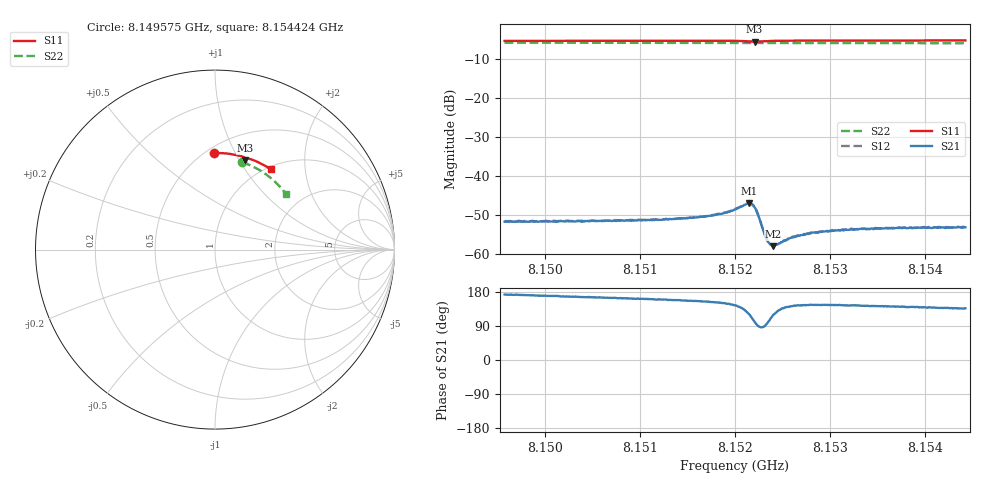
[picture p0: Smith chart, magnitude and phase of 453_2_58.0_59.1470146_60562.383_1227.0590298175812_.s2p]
#  HZ  S  RI  R  50.00
! Rohde & Schwarz Vector Network Analyzer
! Rohde-Schwarz,ZNB20-2Port,1311601062101988,3.16
! Created: UTC 3/21/2024, 1:10:38 AM
! freq[Hz]  re:S11  im:S11  re:S21  im:S21  re:S12  im:S12  re:S22  im:S22
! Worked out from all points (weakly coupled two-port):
!   401 points, 8.149575 GHz to 8.154424 GHz, reference 50 ohm
!   highest |S21| = -46.97 dB at 8.152145 GHz (marker M1); lowest = -57.9 dB at 8.152399 GHz (marker M2)
!   lowest |S11| = -5.6 dB at 8.152205 GHz (marker M3), VSWR 3.23, Z = 38.5 + j53.2 ohm
!   |S11| at or under -10 dB: nowhere
!   |S22| runs from -6.0 to -5.8 dB; largest |S21 - S12| = 0.00011
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8.1495747e9  -0.00537 0.5376  -0.0026 0.000333  -0.00265 0.00036  0.1515 0.4869
8.1503869e9  0.0514 0.5365  -0.00254 0.000614  -0.00262 0.000673  0.2001 0.4679
8.1511992e9  0.1078 0.5293  -0.0026 0.000931  -0.00262 0.00101  0.2463 0.4441
8.1516841e9  0.1419 0.5219  -0.00276 0.00132  -0.00271 0.00136  0.2725 0.4275
8.1518781e9  0.1559 0.5172  -0.00291 0.00167  -0.00291 0.00174  0.2827 0.4204
8.1519993e9  0.1652 0.513  -0.00305 0.0022  -0.00306 0.00228  0.2889 0.4158
8.1521084e9  0.1725 0.5056  -0.00281 0.0033  -0.00278 0.00336  0.2942 0.4115
8.1521448e9  0.173 0.502  -0.00236 0.00381  -0.00228 0.00386  0.2962 0.41
8.1521811e9  0.1717 0.499  -0.00144 0.00407  -0.00142 0.00413  0.2977 0.4086
8.1522054e9  0.1698 0.4985  -0.00075 0.00394  -0.000705 0.00398  0.2989 0.4078
8.1522418e9  0.168 0.5007  1.51e-05 0.0032  4.59e-05 0.00324  0.3007 0.4065
8.1523024e9  0.1704 0.5053  6.98e-05 0.00193  9.2e-05 0.00196  0.3037 0.4044
8.1523266e9  0.1724 0.5065  -0.0001 0.00161  -8.8e-05 0.00164  0.3048 0.4035
8.152363e9  0.1757 0.5074  -0.000352 0.00133  -0.000336 0.00132  0.3066 0.4021
8.1523872e9  0.1779 0.5077  -0.000529 0.0012  -0.000499 0.0012  0.3079 0.4012
8.1523994e9  0.1792 0.5076  -0.000606 0.00112  -0.000573 0.00116  0.3085 0.4007
8.1524236e9  0.1813 0.5077  -0.000724 0.0011  -0.000735 0.00113  0.3098 0.3997
8.1526054e9  0.1958 0.5047  -0.00133 0.00102  -0.00132 0.00104  0.3188 0.3923
8.1528115e9  0.2104 0.4998  -0.00157 0.00107  -0.00158 0.00107  0.3285 0.3836
8.1532237e9  0.2376 0.4885  -0.00169 0.00123  -0.00173 0.00127  0.3474 0.3657
8.1536238e9  0.2626 0.4762  -0.0017 0.00137  -0.00169 0.00136  0.3647 0.3476
8.1544239e9  0.3103 0.4481  -0.00161 0.00153  -0.00158 0.0016  0.3965 0.3086
